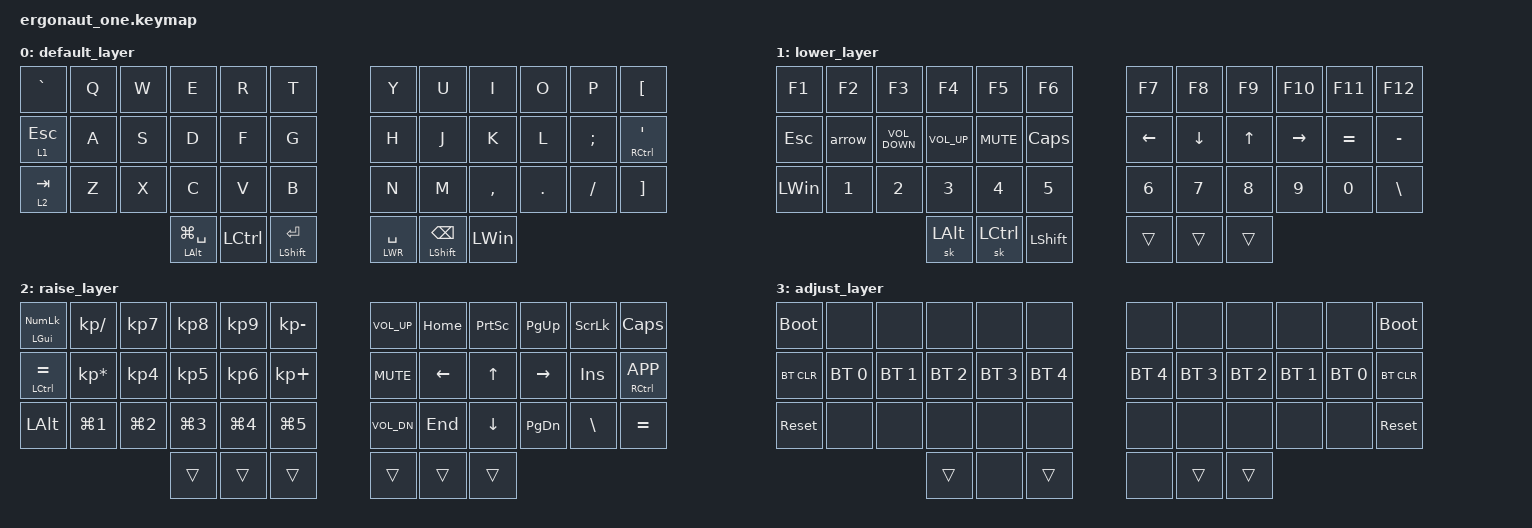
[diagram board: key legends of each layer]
#include <behaviors.dtsi>
#include <dt-bindings/zmk/bt.h>
#include <dt-bindings/zmk/keys.h>

#define DEF 0
#define LWR 1
#define RSE 2
#define ADJ 3

&lt { quick-tap-ms = <200>; };

&mt { quick-tap-ms = <200>; };

/ {
    conditional_layers {
        compatible = "zmk,conditional-layers";

        tri-layer {
            if-layers = <1 2>;
            then-layer = <3>;
        };
    };

    macros {
        arrow: arrow {
            compatible = "zmk,behavior-macro";
            #binding-cells = <0>;
            bindings = <&kp EQUAL &kp GREATER_THAN>;
            label = "ARROW";
        };
    };

    keymap {
        compatible = "zmk,keymap";

        default_layer {
            bindings = <
&kp GRAVE     &kp Q  &kp W  &kp E                   &kp R      &kp T                 &kp Y          &kp U                     &kp I         &kp O    &kp P     &kp LEFT_BRACKET
&lt 1 ESCAPE  &kp A  &kp S  &kp D                   &kp F      &kp G                 &kp H          &kp J                     &kp K         &kp L    &kp SEMI  &mt RCTRL SQT
&lt 2 TAB     &kp Z  &kp X  &kp C                   &kp V      &kp B                 &kp N          &kp M                     &kp COMMA     &kp DOT  &kp FSLH  &kp RIGHT_BRACKET
                            &mt LEFT_ALT LG(SPACE)  &kp LCTRL  &mt LEFT_SHIFT ENTER  &lt LWR SPACE  &mt LEFT_SHIFT BACKSPACE  &kp LEFT_WIN
            >;
        };

        lower_layer {
            bindings = <
&kp F1        &kp F2  &kp F3             &kp F4           &kp F5      &kp F6        &kp F7    &kp F8    &kp F9        &kp F10    &kp F11    &kp F12
&kp ESCAPE    &arrow  &kp C_VOLUME_DOWN  &kp C_VOLUME_UP  &kp C_MUTE  &kp CAPSLOCK  &kp LEFT  &kp DOWN  &kp UP_ARROW  &kp RIGHT  &kp EQUAL  &kp MINUS
&kp LEFT_WIN  &kp N1  &kp N2             &kp N3           &kp N4      &kp N5        &kp N6    &kp N7    &kp N8        &kp N9     &kp N0     &kp BACKSLASH
                                         &sk LEFT_ALT     &sk LCTRL   &kp LSHIFT    &trans    &trans    &trans
            >;
        };

        raise_layer {
            bindings = <
&mt LGUI KP_NUM  &kp KP_SLASH      &kp KP_N7         &kp KP_N8         &kp KP_N9         &kp KP_MINUS  &kp C_VOL_UP  &kp HOME  &kp PSCRN  &kp PG_UP  &kp SLCK       &kp CLCK
&mt LCTRL EQUAL  &kp KP_MULTIPLY   &kp KP_N4         &kp KP_N5         &kp KP_N6         &kp KP_PLUS   &kp C_MUTE    &kp LEFT  &kp UP     &kp RIGHT  &kp INS        &mt RCTRL K_APP
&kp LALT         &kp LG(NUMBER_1)  &kp LG(NUMBER_2)  &kp LG(NUMBER_3)  &kp LG(NUMBER_4)  &kp LG(N5)    &kp C_VOL_DN  &kp END   &kp DOWN   &kp PG_DN  &kp BACKSLASH  &kp EQUAL
                                                     &trans            &trans            &trans        &trans        &trans    &trans
            >;
        };

        adjust_layer {
            bindings = <
&bootloader  &none         &none         &none         &none         &none         &none         &none         &none         &none         &none         &bootloader
&bt BT_CLR   &bt BT_SEL 0  &bt BT_SEL 1  &bt BT_SEL 2  &bt BT_SEL 3  &bt BT_SEL 4  &bt BT_SEL 4  &bt BT_SEL 3  &bt BT_SEL 2  &bt BT_SEL 1  &bt BT_SEL 0  &bt BT_CLR
&sys_reset   &none         &none         &none         &none         &none         &none         &none         &none         &none         &none         &sys_reset
                                         &trans        &none         &trans        &none         &trans        &trans
            >;
        };
    };
};
